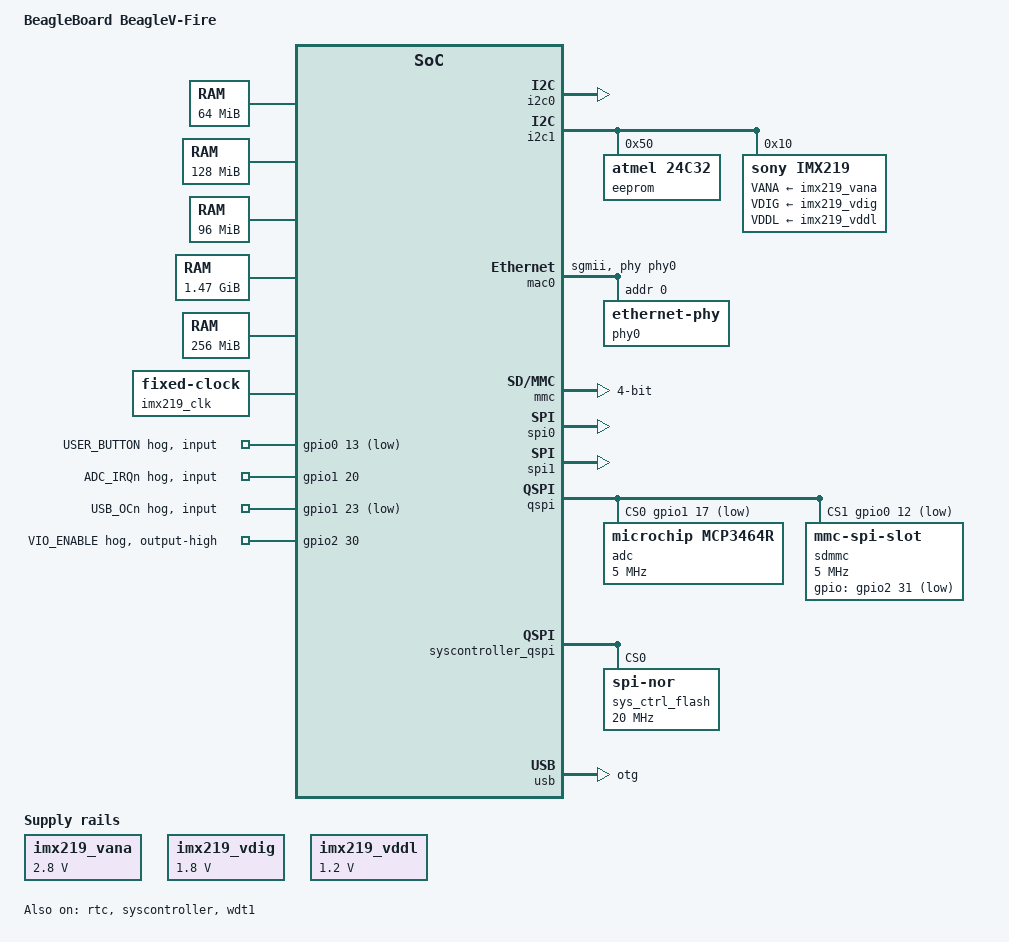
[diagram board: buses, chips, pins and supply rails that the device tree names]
// SPDX-License-Identifier: (GPL-2.0 OR MIT)
/* Copyright (c) 2020-2021 Microchip Technology Inc */

/dts-v1/;

#include <dt-bindings/gpio/gpio.h>
#include "mpfs.dtsi"
#include "mpfs-beaglev-fire-fabric.dtsi"

/* Clock frequency (in Hz) of MTIMER */
#define MTIMER_FREQ		1000000

/ {
	#address-cells = <2>;
	#size-cells = <2>;
	model = "BeagleBoard BeagleV-Fire";
	compatible = "beagle,beaglev-fire", "microchip,mpfs";

	soc {
		dma-ranges = <0x14 0x0 0x0 0x80000000 0x0 0x4000000>,
			     <0x14 0x4000000 0x0 0xc4000000 0x0 0x6000000>,
			     <0x14 0xa000000 0x0 0x8a000000 0x0 0x8000000>,
			     <0x14 0x12000000 0x14 0x12000000 0x0 0x10000000>,
			     <0x14 0x22000000 0x10 0x22000000 0x0 0x5e000000>;
	};

	aliases {
		serial0 = &mmuart0;
		serial1 = &mmuart1;
		serial2 = &mmuart2;
		serial3 = &mmuart3;
		serial4 = &mmuart4;
		mmc0 = &mmc;
		mmc1 = &sdmmc;
	};

	chosen {
		stdout-path = "serial0:115200n8";
	};

	cpus {
		timebase-frequency = <MTIMER_FREQ>;
	};

	kernel: memory@80000000 {
		device_type = "memory";
		reg = <0x0 0x80000000 0x0 0x4000000>;
	};

	ddr_cached_low: memory@8a000000 {
		device_type = "memory";
		reg = <0x0 0x8a000000 0x0 0x8000000>;
	};

	ddr_non_cached_low: memory@c4000000 {
		device_type = "memory";
		reg = <0x0 0xc4000000 0x0 0x6000000>;
	};

	ddr_cached_high: memory@1022000000 {
		device_type = "memory";
		reg = <0x10 0x22000000 0x0 0x5e000000>;
	};

	ddr_non_cached_high: memory@1412000000 {
		device_type = "memory";
		reg = <0x14 0x12000000 0x0 0x10000000>;
	};

	reserved-memory {
		#address-cells = <2>;
		#size-cells = <2>;
		ranges;

		hss: hss-buffer@103fc00000 {
			compatible = "shared-dma-pool";
			reg = <0x10 0x3fc00000 0x0 0x400000>;
			no-map;
		};

		dma_non_cached_low: non-cached-low-buffer {
			compatible = "shared-dma-pool";
			size = <0x0 0x4000000>;
			no-map;
			alloc-ranges = <0x0 0xc4000000 0x0 0x4000000>;
		};

		dma_non_cached_high: non-cached-high-buffer {
			compatible = "shared-dma-pool";
			size = <0x0 0x10000000>;
			no-map;
			linux,dma-default;
			alloc-ranges = <0x14 0x12000000 0x0 0x10000000>;
		};
	};

	imx219_clk: camera-clk {
		compatible = "fixed-clock";
		#clock-cells = <0>;
		clock-frequency = <24000000>;
	};

	imx219_vana: fixedregulator-0 {
		compatible = "regulator-fixed";
		regulator-name = "imx219_vana";
		regulator-min-microvolt = <2800000>;
		regulator-max-microvolt = <2800000>;
	};

	imx219_vdig: fixedregulator-1 {
		compatible = "regulator-fixed";
		regulator-name = "imx219_vdig";
		regulator-min-microvolt = <1800000>;
		regulator-max-microvolt = <1800000>;
	};

	imx219_vddl: fixedregulator-2 {
		compatible = "regulator-fixed";
		regulator-name = "imx219_vddl";
		regulator-min-microvolt = <1200000>;
		regulator-max-microvolt = <1200000>;
	};
};

&gpio0 {
	ngpios=<14>;
	gpio-line-names = "", "", "", "", "", "", "",
			  "", "", "", "", "", "SD_CARD_CS", "USER_BUTTON";
	status = "okay";

	user-button-hog {
		gpio-hog;
		gpios = <13 13>;
		input;
		line-name = "USER_BUTTON";
	};
};

&gpio1 {
	ngpios=<24>;
	gpio-line-names = "", "", "", "", "", "", "", "", "", "",
			  "", "", "", "", "", "", "", "", "", "",
			  "ADC_IRQn", "", "", "USB_OCn";
	status = "okay";

	adc-irqn-hog {
		gpio-hog;
		gpios = <20 20>;
		input;
		line-name = "ADC_IRQn";
	};

	usb-ocn-hog {
		gpio-hog;
		gpios = <23 23>;
		input;
		line-name = "USB_OCn";
	};
};

&gpio2 {
	gpio-line-names = "P8_PIN3_USER_LED_0", "P8_PIN4_USER_LED_1", "P8_PIN5_USER_LED_2",
			  "P8_PIN6_USER_LED_3", "P8_PIN7_USER_LED_4", "P8_PIN8_USER_LED_5",
			  "P8_PIN9_USER_LED_6", "P8_PIN10_USER_LED_7", "P8_PIN11_USER_LED_8",
			  "P8_PIN12_USER_LED_9", "P8_PIN13_USER_LED_10", "P8_PIN14_USER_LED_11",
			  "P8_PIN15", "P8_PIN16", "P8_PIN17", "P8_PIN18", "P8_PIN19", "P8_PIN20",
			  "P8_PIN21", "P8_PIN22", "P8_PIN23", "P8_PIN24", "P8_PIN25", "P8_PIN26",
			  "P8_PIN27", "P8_PIN28", "P8_PIN29", "P8_PIN30", "M2_W_DISABLE1",
			  "M2_W_DISABLE2", "VIO_ENABLE", "SD_DET";
	status = "okay";

	vio-enable-hog {
		gpio-hog;
		gpios = <30 30>;
		output-high;
		line-name = "VIO_ENABLE";
	};
};

&i2c0 {
	status = "okay";
};

&i2c1 {
	status = "okay";

	eeprom: eeprom@50 {
		compatible = "atmel,24c32";
		reg = <0x50>;
	};

	imx219: sensor@10 {
		compatible = "sony,imx219";
		reg = <0x10>;
		clocks = <&imx219_clk>;
		VANA-supply = <&imx219_vana>;   /* 2.8v */
		VDIG-supply = <&imx219_vdig>;   /* 1.8v */
		VDDL-supply = <&imx219_vddl>;   /* 1.2v */

		port {
			imx219_0: endpoint {
				data-lanes = <1 2>;
				clock-noncontinuous;
				link-frequencies = /bits/ 64 <456000000>;
			};
		};
	};
};

&mac0 {
	dma-noncoherent;
	status = "okay";
	phy-mode = "sgmii";
	phy-handle = <&phy0>;
	phy0: ethernet-phy@0 {
		reg = <0>;
	};
};

&mbox {
	status = "okay";
};

&mmc {
	dma-noncoherent;
	bus-width = <4>;
	disable-wp;
	cap-sd-highspeed;
	cap-mmc-highspeed;
	mmc-ddr-1_8v;
	mmc-hs200-1_8v;
	sd-uhs-sdr12;
	sd-uhs-sdr25;
	sd-uhs-sdr50;
	sd-uhs-sdr104;
	status = "okay";
};

&mmuart0 {
	status = "okay";
};

&mmuart1 {
	status = "okay";
};

&refclk {
	clock-frequency = <125000000>;
};

&refclk_ccc {
	clock-frequency = <50000000>;
};

&rtc {
	status = "okay";
};

&spi0 {
	status = "okay";
};

&spi1 {
	status = "okay";
};

&gpio0 {
	status = "okay";
};

&gpio1 {
	status = "okay";
};

&qspi {
	status = "okay";
	cs-gpios = <&gpio1 17 GPIO_ACTIVE_LOW>, <&gpio0 12 GPIO_ACTIVE_LOW>;
	num-cs = <2>;

	adc@0 {
		compatible = "microchip,mcp3464r";
		reg = <0>; /* CE0 */
		spi-cpol;
		spi-cpha;
		spi-max-frequency = <5000000>;
		microchip,hw-device-address = <1>;
		#address-cells = <1>;
		#size-cells = <0>;
		status = "okay";

		channel@0 {
			/* CH0 to AGND */
			reg = <0>;
			label = "CH0";
		};

		channel@1 {
			/* CH1 to AGND */
			reg = <1>;
			label = "CH1";
		};

		channel@2 {
			/* CH2 to AGND */
			reg = <2>;
			label = "CH2";
		};

		channel@3 {
			/* CH3 to AGND */
			reg = <3>;
			label = "CH3";
		};

		channel@4 {
			/* CH4 to AGND */
			reg = <4>;
			label = "CH4";
		};

		channel@5 {
			/* CH5 to AGND */
			reg = <5>;
			label = "CH5";
		};

		channel@6 {
			/* CH6 to AGND */
			reg = <6>;
			label = "CH6";
		};

		channel@7 {
			/* CH7 is connected to AGND */
			reg = <7>;
			label = "CH7";
		};
	};

	sdmmc: mmc@1 {
		compatible = "mmc-spi-slot";
		reg = <1>;
		gpios = <&gpio2 31 1>;
		voltage-ranges = <3300 3300>;
		spi-max-frequency = <5000000>;
		disable-wp;
	};
};


&syscontroller {
	microchip,bitstream-flash = <&sys_ctrl_flash>;
	status = "okay";
};

&syscontroller_qspi {
	status = "okay";

	sys_ctrl_flash: flash@0 { // MT25QL01GBBB8ESF-0SIT
		compatible = "jedec,spi-nor";
		#address-cells = <1>;
		#size-cells = <1>;
		spi-max-frequency = <20000000>;
		spi-rx-bus-width = <1>;
		reg = <0>;
	};
};

&usb {
	dma-noncoherent;
	status = "okay";
	dr_mode = "otg";
};

&wdt1 {
	status = "okay";
};
